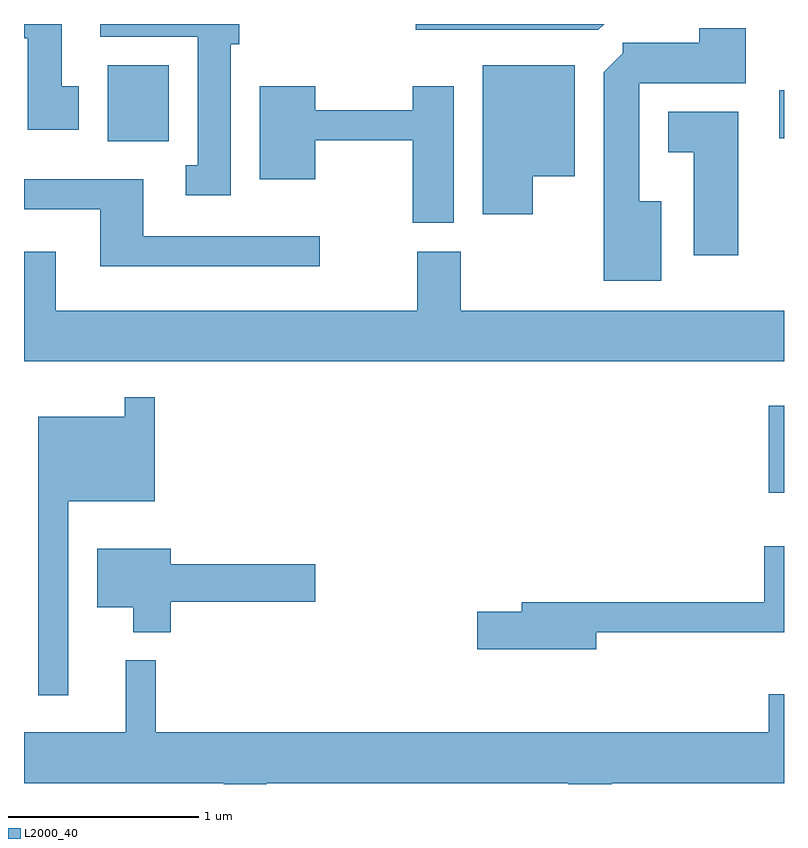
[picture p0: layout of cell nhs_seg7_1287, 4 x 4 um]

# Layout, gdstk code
import gdstk
lib = gdstk.Library(unit=1e-6, precision=1e-09)
def R(c, l, rs):  # rectangles x0, y0, x1, y1
    for r in rs: c.add(gdstk.rectangle(r[:2], r[2:], *l))
def P(c, l, *ps):  # polygons
    for p in ps: c.add(gdstk.Polygon(p, *l))
L2000_40 = (2000, 40)

nhs_seg7_1287 = lib.new_cell('nhs_seg7_1287')
R(nhs_seg7_1287, L2000_40, [(227.531,1775.786,227.611,1776.244), (224.051,1777.636,224.374,1778.034), (227.586,1777.651,227.611,1777.904)])
P(nhs_seg7_1287, L2000_40, [(224.699,1778.146),(224.744,1778.146),(224.744,1778.252),(224.011,1778.252),(224.011,1778.186),(224.526,1778.186),(224.526,1777.509),(224.463,1777.509),(224.463,1777.351),(224.699,1777.351)],
  [(223.899,1777.924),(223.809,1777.924),(223.809,1778.252),(223.611,1778.252),(223.611,1778.176),(223.631,1778.176),(223.631,1777.696),(223.899,1777.696)],
  [(226.665,1778.252),(225.673,1778.252),(225.673,1778.221),(226.634,1778.221)],
  [(226.964,1777.319),(226.849,1777.319),(226.849,1777.941),(227.409,1777.941),(227.409,1778.229),(227.166,1778.229),(227.166,1778.154),(226.761,1778.154),(226.761,1778.097),(226.661,1777.997),(226.661,1776.901),(226.964,1776.901)],
  [(226.289,1777.451),(226.509,1777.451),(226.509,1778.034),(226.026,1778.034),(226.026,1777.251),(226.289,1777.251)],
  [(225.874,1777.924),(225.656,1777.924),(225.656,1777.799),(225.144,1777.799),(225.144,1777.924),(224.851,1777.924),(224.851,1777.436),(225.144,1777.436),(225.144,1777.641),(225.656,1777.641),(225.656,1777.206),(225.874,1777.206)],
  [(227.369,1777.789),(227.001,1777.789),(227.001,1777.576),(227.136,1777.576),(227.136,1777.036),(227.369,1777.036)],
  [(225.168,1777.134),(224.239,1777.134),(224.239,1777.434),(223.611,1777.434),(223.611,1777.276),(224.011,1777.276),(224.011,1776.976),(225.168,1776.976)],
  [(225.681,1777.054),(225.681,1776.744),(223.779,1776.744),(223.779,1777.054),(223.611,1777.054),(223.611,1776.476),(227.611,1776.476),(227.611,1776.744),(225.909,1776.744),(225.909,1777.054)],
  [(223.844,1775.741),(224.299,1775.741),(224.299,1776.288),(224.141,1776.288),(224.141,1776.184),(223.686,1776.184),(223.686,1774.718),(223.844,1774.718)],
  [(226.624,1775.051),(227.611,1775.051),(227.611,1775.504),(227.506,1775.504),(227.506,1775.209),(226.231,1775.209),(226.231,1775.159),(225.996,1775.159),(225.996,1774.961),(226.624,1774.961)],
  [(224.384,1775.211),(225.144,1775.211),(225.144,1775.409),(224.384,1775.409),(224.384,1775.489),(223.996,1775.489),(223.996,1775.181),(224.186,1775.181),(224.186,1775.051),(224.384,1775.051)],
  [(224.889,1774.256),(226.476,1774.256),(226.476,1774.252),(226.704,1774.252),(226.704,1774.256),(227.611,1774.256),(227.611,1774.724),(227.531,1774.724),(227.531,1774.524),(224.304,1774.524),(224.304,1774.903),(224.146,1774.903),(224.146,1774.524),(223.611,1774.524),(223.611,1774.256),(224.661,1774.256),(224.661,1774.252),(224.889,1774.252)])

lib.write_gds('nhs_seg7_1287.gds')
